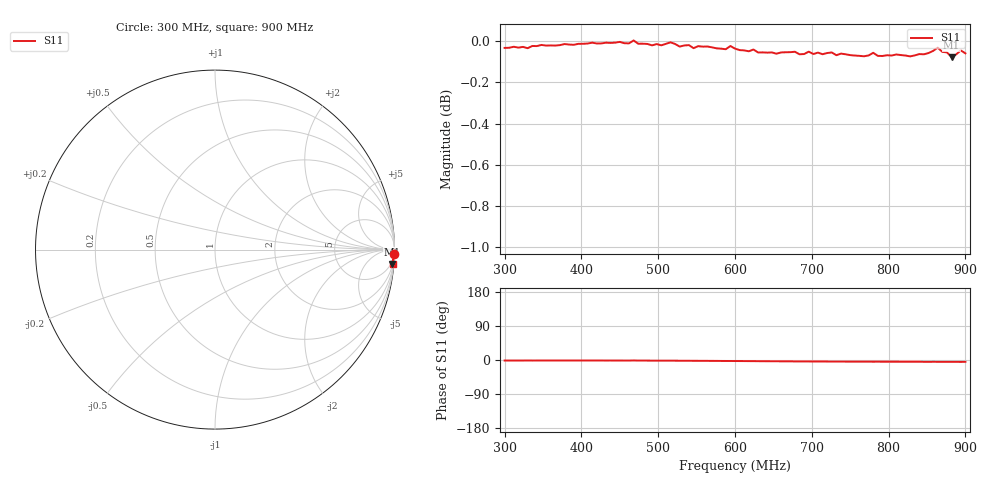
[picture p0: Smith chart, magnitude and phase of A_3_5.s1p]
# HZ S RI R 50
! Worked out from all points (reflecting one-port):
!   101 points, 300 MHz to 900 MHz, reference 50 ohm
!   lowest |S11| = -0.1 dB at 882 MHz (marker M1), VSWR 224.30, Z = 126 - j1.18e+03 ohm
!   phase of S11 starts at -1 deg and turns -3 deg over the sweep
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3e8  0.996 -0.0245
3.78e8  0.9982 -0.0231
4.5e8  0.9994 -0.0249
4.62e8  0.9985 -0.0262
4.68e8  1 -0.0209
4.74e8  0.9983 -0.0264
5.04e8  0.9973 -0.0298
5.16e8  0.9989 -0.0308
5.28e8  0.9965 -0.0331
5.94e8  0.9963 -0.0457
6e8  0.9948 -0.0471
6.48e8  0.992 -0.0593
6.54e8  0.9914 -0.0583
6.78e8  0.9921 -0.0645
6.84e8  0.9906 -0.065
6.96e8  0.992 -0.0663
7.02e8  0.9905 -0.0692
7.14e8  0.9904 -0.069
7.5e8  0.9895 -0.0743
7.8e8  0.9905 -0.0778
7.86e8  0.9889 -0.0773
8.28e8  0.9884 -0.0799
8.52e8  0.9899 -0.0839
8.58e8  0.9913 -0.0814
8.64e8  0.993 -0.0831
8.82e8  0.9877 -0.0827
8.94e8  0.9911 -0.0867
9e8  0.9898 -0.083
